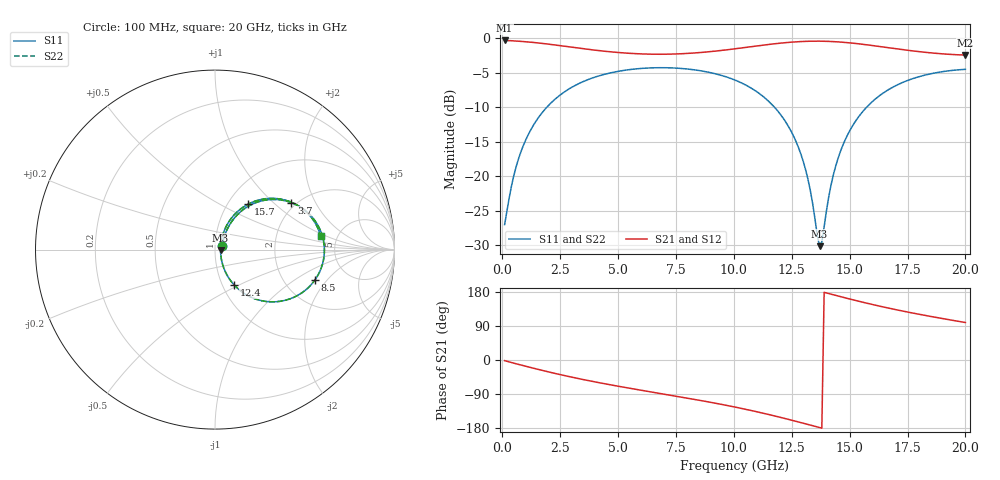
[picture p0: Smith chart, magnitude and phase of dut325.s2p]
! Touchstone file exported from HFSS 2026.1.0
!  File:  C:/ffzhzh/LocalFiles/Ansys_Project_Files/temp_train_TSV_RDL_325_1783032158_4048.aedt
!  Generated:  06:57:29 AM Jul  3, 2026
!  Design:  TSV_RDL
!  Project:  temp_train_TSV_RDL_325_1783032158_4048
! Variables:
!  h_bsmrdl = 4.34um
!  h_ox = 20um
!  h_rdl = 5um
!  h_sub = 55.63um
!  h_tmrdl = 2.11um
!  h_tsv = 55.63um
!  h_via = 3um
!  l_bsmrdl = 226.59um
!  l_sub = 4569.05um
!  l_tmrdl = 841.93um
!  m_sub = 200um
!  pitch = 47.64um
!  r_tsv = 2.05um
!  s_tmrdl = 10um
!  w_bsmrdl = 20.87um
!  w_sub = 500um
!  w_tmrdl = 19.65um
!  x_tsv_center1 = 851.755um
!  x_tsv_center2 = 1099.215um
!  x_tsv_center3 = 1960.795um
!  x_tsv_center4 = 2208.255um
!  x_tsv_center5 = 3069.835um
!  x_tsv_center6 = 3317.295um
# GHz S MA R 50.000000
! Terminal data exported
! Port[1] = TM_RDL1_1_T1
! Port[2] = TM_RDL5_1_T1
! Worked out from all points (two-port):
!   200 points, 100 MHz to 20 GHz, reference 50 ohm
!   highest |S21| = -0.36 dB at 100 MHz (marker M1); lowest = -2.5 dB at 20 GHz (marker M2)
!   |S21| within 3 dB of the highest: start of sweep to end of sweep
!   lowest |S11| = -30.1 dB at 13.7 GHz (marker M3), VSWR 1.06, Z = 53.2 - j0.458 ohm
!   |S11| at or under -10 dB: start of sweep to 1.929 GHz; 11.75 GHz to 15.74 GHz (3.991 GHz wide, 29 % of centre)
!   |S22| runs from -30.2 to -4.3 dB; largest |S21 - S12| = 1.6e-14
!   S11 on the Smith chart (normalised r, x): 100 MHz: 1.08, +0.04; 3.7 GHz: 1.88, +1.31; 8.5 GHz: 2.93, -1.51; 12.4 GHz: 1.13, -0.47; 15.7 GHz: 1.23, +0.69; 20 GHz: 3.70, +0.87
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0.1  0.04463 23.5  0.9594 -1.7  0.9594 -1.7  0.04463 23.5
! Gamma 0 0 0 0
! Port Impedance 50 0 50 0
0.6  0.1174 58.1  0.9503 -10.0  0.9503 -10.0  0.1174 58.1
1.2  0.2119 58.2  0.933 -19.5  0.933 -19.5  0.2118 58.2
2.2  0.3511 48.6  0.8934 -34.3  0.8934 -34.3  0.3511 48.6
3.5  0.4841 33.8  0.8361 -51.7  0.8361 -51.7  0.4841 33.8
3.7  0.4997 31.6  0.8279 -54.1  0.8279 -54.1  0.4997 31.6
6.8  0.6095 -0.1  0.7624 -88.2  0.7624 -88.2  0.6095 -0.1
8.5  0.5815 -17.0  0.7834 -106.1  0.7834 -106.1  0.5815 -17.0
10.1  0.4919 -34.5  0.8369 -124.8  0.8369 -124.8  0.4919 -34.5
11.4  0.3613 -50.1  0.8931 -142.3  0.8931 -142.3  0.3613 -50.1
12.4  0.2227 -61.6  0.9301 -157.3  0.9301 -157.3  0.2227 -61.7
13  0.1275 -64.9  0.9439 -166.9  0.9439 -166.9  0.1275 -64.9
13.4  0.06388 -56.3  0.948 -173.3  0.948 -173.3  0.06387 -56.4
13.7  0.03117 -7.9  0.9482 -178.2  0.9482 -178.2  0.03103 -8.1
13.8  0.03343 21.1  0.9477 -179.9  0.9477 -179.9  0.03327 21.1
14.1  0.0712 58.1  0.9446 175.3  0.9446 175.3  0.07107 58.2
14.5  0.1346 64.3  0.9368 168.9  0.9368 168.9  0.1345 64.4
15  0.2125 61.6  0.9219 161.0  0.9219 161.0  0.2124 61.6
15.7  0.3111 54.1  0.8943 150.5  0.8943 150.5  0.311 54.1
16.7  0.4249 42.2  0.8492 136.7  0.8492 136.7  0.4248 42.3
18.4  0.546 23.4  0.7834 116.1  0.7834 116.1  0.5459 23.4
20  0.593 7.4  0.7522 98.9  0.7522 98.9  0.5929 7.4
